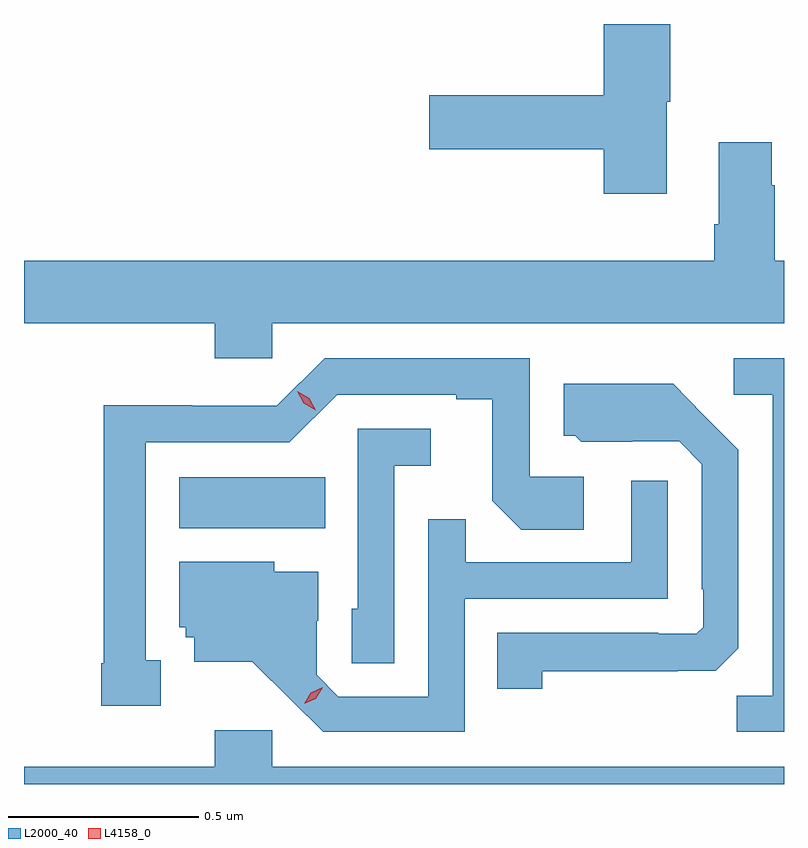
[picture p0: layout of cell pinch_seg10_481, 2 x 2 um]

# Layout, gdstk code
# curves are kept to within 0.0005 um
import gdstk
lib = gdstk.Library(unit=1e-6, precision=1e-09)
def R(c, l, rs):  # rectangles x0, y0, x1, y1
    for r in rs: c.add(gdstk.rectangle(r[:2], r[2:], *l))
def P(c, l, *ps):  # polygons
    for p in ps: c.add(gdstk.Polygon(p, *l))
L2000_40 = (2000, 40)
L4158_0 = (4158, 0)

pinch_seg10_481 = lib.new_cell('pinch_seg10_481')
R(pinch_seg10_481, L2000_40, [(346.94,1306.436,347.324,1306.57)])
P(pinch_seg10_481, L2000_40, [(348.223,1307.559),(348.231,1307.559),(348.231,1307.763),(348.056,1307.763),(348.056,1307.576),(347.598,1307.576),(347.598,1307.434),(348.056,1307.434),(348.056,1307.316),(348.223,1307.316)],
  [(347.184,1306.976),(348.531,1306.976),(348.531,1307.14),(348.507,1307.14),(348.507,1307.339),(348.499,1307.339),(348.499,1307.452),(348.359,1307.452),(348.359,1307.236),(348.347,1307.236),(348.347,1307.14),(346.531,1307.14),(346.531,1306.976),(347.033,1306.976),(347.033,1306.883),(347.184,1306.883)],
  [(348.531,1306.884),(348.399,1306.884),(348.399,1306.788),(348.501,1306.788),(348.501,1305.995),(348.406,1305.995),(348.406,1305.9),(348.531,1305.9)],
  [(346.891,1306.089),(346.852,1306.089),(346.852,1306.662),(347.229,1306.662),(347.355,1306.788),(347.669,1306.788),(347.669,1306.776),(347.763,1306.776),(347.763,1306.508),(347.839,1306.432),(348.004,1306.432),(348.004,1306.572),(347.862,1306.572),(347.862,1306.884),(347.322,1306.884),(347.196,1306.758),(346.974,1306.758),(346.974,1306.76),(346.741,1306.76),(346.741,1306.081),(346.734,1306.081),(346.734,1305.969),(346.891,1305.969)],
  [(347.895,1306.06),(348.251,1306.06),(348.251,1306.061),(348.352,1306.061),(348.411,1306.12),(348.411,1306.642),(348.239,1306.816),(347.951,1306.816),(347.951,1306.68),(347.982,1306.68),(347.998,1306.664),(348.132,1306.664),(348.132,1306.665),(348.255,1306.665),(348.315,1306.605),(348.315,1306.276),(348.318,1306.276),(348.318,1306.176),(348.3,1306.158),(348.2,1306.158),(348.2,1306.161),(347.776,1306.161),(347.776,1306.014),(347.895,1306.014)],
  [(347.505,1306.601),(347.602,1306.601),(347.602,1306.698),(347.409,1306.698),(347.409,1306.224),(347.394,1306.224),(347.394,1306.081),(347.505,1306.081)],
  [(347.691,1306.251),(348.225,1306.251),(348.225,1306.561),(348.129,1306.561),(348.129,1306.347),(347.693,1306.347),(347.693,1306.46),(347.595,1306.46),(347.595,1305.993),(347.358,1305.993),(347.301,1306.05),(347.301,1306.192),(347.305,1306.192),(347.305,1306.321),(347.19,1306.321),(347.19,1306.348),(346.94,1306.348),(346.94,1306.176),(346.956,1306.176),(346.956,1306.149),(346.979,1306.149),(346.979,1306.085),(347.131,1306.085),(347.318,1305.9),(347.691,1305.9)],
  [(348.531,1305.808),(347.184,1305.808),(347.184,1305.904),(347.033,1305.904),(347.033,1305.808),(346.531,1305.808),(346.531,1305.763),(348.531,1305.763)])
P(pinch_seg10_481, L4158_0, [(347.268,1305.974),(347.268,1305.974),(347.286,1306.003),(347.317,1306.017),(347.317,1306.017),(347.317,1306.017),(347.299,1305.988),(347.268,1305.974)],
  [(347.299,1306.746),(347.267,1306.765),(347.25,1306.797),(347.25,1306.797),(347.25,1306.797),(347.282,1306.778),(347.299,1306.746),(347.299,1306.746)])

lib.write_gds('pinch_seg10_481.gds')
